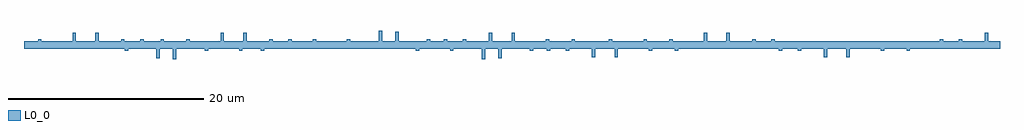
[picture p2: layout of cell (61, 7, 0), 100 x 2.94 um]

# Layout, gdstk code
import gdstk
lib = gdstk.Library(unit=1e-6, precision=1e-09)
def P(c, l, *ps):  # polygons
    for p in ps: c.add(gdstk.Polygon(p, *l))
L0_0 = (0, 0)

c__61__7__0_ = lib.new_cell('(61, 7, 0)')
P(c__61__7__0_, L0_0, [(900,941.2),(1000,941.2),(1000,940.4),(900,940.4),(900,941.2)],
  [(1000,940.4),(999.24,940.4),(999.24,941.2),(1000,941.2),(1000,940.4)],
  [(939.18,941.2),(939.18,940.4),(937.86,940.4),(937.86,941.2),(939.18,941.2)],
  [(924.28,940.4),(923.34,940.4),(923.34,941.2),(927.3,941.2),(927.3,940.4),(924.62,940.4),(924.62,940.225),(924.28,940.225),(924.28,940.4)],
  [(910.14,941.2),(910.14,940.4),(908.82,940.4),(908.82,941.2),(910.14,941.2)],
  [(958.32,941.2),(958.98,941.2),(958.98,940.4),(958.32,940.4),(958.32,941.2)],
  [(936.7,941.2),(938.05,941.2),(938.05,942.18),(938.39,942.18),(938.39,941.2),(941.28,941.2),(941.28,941.375),(941.62,941.375),(941.62,941.2),(941.82,941.2),(941.82,940.4),(928.62,940.4),(928.62,941.2),(929.59,941.2),(929.59,941.375),(929.93,941.375),(929.93,941.2),(933.09,941.2),(933.09,941.375),(933.43,941.375),(933.43,941.2),(936.36,941.2),(936.36,942.27),(936.7,942.27),(936.7,941.2)],
  [(996.6,941.2),(996.6,940.4),(991.32,940.4),(991.32,941.2),(996.6,941.2)],
  [(972.84,941.2),(972.84,940.4),(967.56,940.4),(967.56,941.2),(972.84,941.2)],
  [(950.29,941.2),(953.47,941.2),(953.47,941.375),(953.81,941.375),(953.81,941.2),(956.11,941.2),(956.11,941.375),(956.45,941.375),(956.45,941.2),(957,941.2),(957,940.4),(941.82,940.4),(941.82,941.2),(943.015,941.2),(943.015,941.375),(943.355,941.375),(943.355,941.2),(944.97,941.2),(944.97,941.375),(945.31,941.375),(945.31,941.2),(947.625,941.2),(947.625,942.035),(947.965,942.035),(947.965,941.2),(949.95,941.2),(949.95,942.04),(950.29,942.04),(950.29,941.2)],
  [(906.18,941.2),(906.18,940.4),(900.9,940.4),(900.9,941.2),(906.18,941.2)],
  [(969.99,942.04),(969.99,941.2),(971.975,941.2),(971.975,942.035),(972.315,942.035),(972.315,941.2),(974.63,941.2),(974.63,941.375),(974.97,941.375),(974.97,941.2),(976.585,941.2),(976.585,941.375),(976.925,941.375),(976.925,941.2),(978.12,941.2),(978.12,940.4),(962.94,940.4),(962.94,941.2),(963.49,941.2),(963.49,941.375),(963.83,941.375),(963.83,941.2),(966.13,941.2),(966.13,941.375),(966.47,941.375),(966.47,941.2),(969.65,941.2),(969.65,942.04),(969.99,942.04)],
  [(900,941.2),(901.45,941.2),(901.45,941.375),(901.79,941.375),(901.79,941.2),(904.97,941.2),(904.97,942.04),(905.31,942.04),(905.31,941.2),(907.295,941.2),(907.295,942.035),(907.635,942.035),(907.635,941.2),(909.95,941.2),(909.95,941.375),(910.29,941.375),(910.29,941.2),(911.905,941.2),(911.905,941.375),(912.245,941.375),(912.245,941.2),(913.44,941.2),(913.44,940.4),(900,940.4),(900,941.2)],
  [(991.32,941.2),(992.64,941.2),(992.64,940.4),(991.32,940.4),(991.32,941.2)],
  [(957,941.2),(958.32,941.2),(958.32,940.4),(957,940.4),(957,941.2)],
  [(960.26,941.375),(960.26,941.2),(962.94,941.2),(962.94,940.4),(958.98,940.4),(958.98,941.2),(959.92,941.2),(959.92,941.375),(960.26,941.375)],
  [(984.27,939.56),(984.27,940.4),(982.285,940.4),(982.285,939.565),(981.945,939.565),(981.945,940.4),(979.63,940.4),(979.63,940.225),(979.29,940.225),(979.29,940.4),(977.675,940.4),(977.675,940.225),(977.335,940.225),(977.335,940.4),(976.14,940.4),(976.14,941.2),(991.32,941.2),(991.32,940.4),(990.77,940.4),(990.77,940.225),(990.43,940.225),(990.43,940.4),(988.13,940.4),(988.13,940.225),(987.79,940.225),(987.79,940.4),(984.61,940.4),(984.61,939.56),(984.27,939.56)],
  [(920.49,942.04),(920.49,941.2),(922.475,941.2),(922.475,942.035),(922.815,942.035),(922.815,941.2),(925.13,941.2),(925.13,941.375),(925.47,941.375),(925.47,941.2),(927.085,941.2),(927.085,941.375),(927.425,941.375),(927.425,941.2),(928.62,941.2),(928.62,940.4),(913.44,940.4),(913.44,941.2),(913.99,941.2),(913.99,941.375),(914.33,941.375),(914.33,941.2),(916.63,941.2),(916.63,941.375),(916.97,941.375),(916.97,941.2),(920.15,941.2),(920.15,942.04),(920.49,942.04)],
  [(937.86,941.2),(937.86,940.4),(927.3,940.4),(927.3,941.2),(937.86,941.2)],
  [(999.24,941.2),(999.24,940.4),(996.6,940.4),(996.6,941.2),(999.24,941.2)],
  [(975.48,941.2),(975.48,940.4),(972.84,940.4),(972.84,941.2),(975.48,941.2)],
  [(900,941.2),(900.9,941.2),(900.9,940.4),(900,940.4),(900,941.2)],
  [(908.82,941.2),(908.82,940.4),(906.18,940.4),(906.18,941.2),(908.82,941.2)],
  [(978.12,941.2),(988.68,941.2),(988.68,940.4),(978.12,940.4),(978.12,941.2)],
  [(946.92,939.33),(946.92,940.4),(943.99,940.4),(943.99,940.225),(943.65,940.225),(943.65,940.4),(940.49,940.4),(940.49,940.225),(940.15,940.225),(940.15,940.4),(939.18,940.4),(939.18,941.2),(952.38,941.2),(952.38,940.4),(952.18,940.4),(952.18,940.225),(951.84,940.225),(951.84,940.4),(948.95,940.4),(948.95,939.42),(948.61,939.42),(948.61,940.4),(947.26,940.4),(947.26,939.33),(946.92,939.33)],
  [(988.68,941.2),(991.32,941.2),(991.32,940.4),(988.68,940.4),(988.68,941.2)],
  [(1000,940.4),(992.64,940.4),(992.64,941.2),(993.835,941.2),(993.835,941.375),(994.175,941.375),(994.175,941.2),(995.79,941.2),(995.79,941.375),(996.13,941.375),(996.13,941.2),(998.445,941.2),(998.445,942.035),(998.785,942.035),(998.785,941.2),(1000,941.2),(1000,940.4)],
  [(915.26,940.4),(913.91,940.4),(913.91,939.42),(913.57,939.42),(913.57,940.4),(910.68,940.4),(910.68,940.225),(910.34,940.225),(910.34,940.4),(910.14,940.4),(910.14,941.2),(923.34,941.2),(923.34,940.4),(922.37,940.4),(922.37,940.225),(922.03,940.225),(922.03,940.4),(918.87,940.4),(918.87,940.225),(918.53,940.225),(918.53,940.4),(915.6,940.4),(915.6,939.33),(915.26,939.33),(915.26,940.4)],
  [(976.14,941.2),(976.14,940.4),(975.48,940.4),(975.48,941.2),(976.14,941.2)],
  [(960.51,939.56),(960.51,940.4),(958.525,940.4),(958.525,939.565),(958.185,939.565),(958.185,940.4),(955.87,940.4),(955.87,940.225),(955.53,940.225),(955.53,940.4),(953.915,940.4),(953.915,940.225),(953.575,940.225),(953.575,940.4),(952.38,940.4),(952.38,941.2),(967.56,941.2),(967.56,940.4),(967.01,940.4),(967.01,940.225),(966.67,940.225),(966.67,940.4),(964.37,940.4),(964.37,940.225),(964.03,940.225),(964.03,940.4),(960.85,940.4),(960.85,939.56),(960.51,939.56)],
  [(936.7,941.2),(938.05,941.2),(938.05,942.18),(938.39,942.18),(938.39,941.2),(941.28,941.2),(941.28,941.375),(941.62,941.375),(941.62,941.2),(941.82,941.2),(941.82,940.4),(928.62,940.4),(928.62,941.2),(929.59,941.2),(929.59,941.375),(929.93,941.375),(929.93,941.2),(933.09,941.2),(933.09,941.375),(933.43,941.375),(933.43,941.2),(936.36,941.2),(936.36,942.27),(936.7,942.27),(936.7,941.2)],
  [(946.92,939.33),(946.92,940.4),(943.99,940.4),(943.99,940.225),(943.65,940.225),(943.65,940.4),(940.49,940.4),(940.49,940.225),(940.15,940.225),(940.15,940.4),(939.18,940.4),(939.18,941.2),(952.38,941.2),(952.38,940.4),(952.18,940.4),(952.18,940.225),(951.84,940.225),(951.84,940.4),(948.95,940.4),(948.95,939.42),(948.61,939.42),(948.61,940.4),(947.26,940.4),(947.26,939.33),(946.92,939.33)],
  [(915.26,940.4),(913.91,940.4),(913.91,939.42),(913.57,939.42),(913.57,940.4),(910.68,940.4),(910.68,940.225),(910.34,940.225),(910.34,940.4),(910.14,940.4),(910.14,941.2),(923.34,941.2),(923.34,940.4),(922.37,940.4),(922.37,940.225),(922.03,940.225),(922.03,940.4),(918.87,940.4),(918.87,940.225),(918.53,940.225),(918.53,940.4),(915.6,940.4),(915.6,939.33),(915.26,939.33),(915.26,940.4)],
  [(950.29,941.2),(953.47,941.2),(953.47,941.375),(953.81,941.375),(953.81,941.2),(956.11,941.2),(956.11,941.375),(956.45,941.375),(956.45,941.2),(957,941.2),(957,940.4),(941.82,940.4),(941.82,941.2),(943.015,941.2),(943.015,941.375),(943.355,941.375),(943.355,941.2),(944.97,941.2),(944.97,941.375),(945.31,941.375),(945.31,941.2),(947.625,941.2),(947.625,942.035),(947.965,942.035),(947.965,941.2),(949.95,941.2),(949.95,942.04),(950.29,942.04),(950.29,941.2)],
  [(906.18,941.2),(906.18,940.4),(900.9,940.4),(900.9,941.2),(906.18,941.2)],
  [(920.49,942.04),(920.49,941.2),(922.475,941.2),(922.475,942.035),(922.815,942.035),(922.815,941.2),(925.13,941.2),(925.13,941.375),(925.47,941.375),(925.47,941.2),(927.085,941.2),(927.085,941.375),(927.425,941.375),(927.425,941.2),(928.62,941.2),(928.62,940.4),(913.44,940.4),(913.44,941.2),(913.99,941.2),(913.99,941.375),(914.33,941.375),(914.33,941.2),(916.63,941.2),(916.63,941.375),(916.97,941.375),(916.97,941.2),(920.15,941.2),(920.15,942.04),(920.49,942.04)],
  [(900,941.2),(901.45,941.2),(901.45,941.375),(901.79,941.375),(901.79,941.2),(904.97,941.2),(904.97,942.04),(905.31,942.04),(905.31,941.2),(907.295,941.2),(907.295,942.035),(907.635,942.035),(907.635,941.2),(909.95,941.2),(909.95,941.375),(910.29,941.375),(910.29,941.2),(911.905,941.2),(911.905,941.375),(912.245,941.375),(912.245,941.2),(913.44,941.2),(913.44,940.4),(900,940.4),(900,941.2)],
  [(937.86,941.2),(937.86,940.4),(927.3,940.4),(927.3,941.2),(937.86,941.2)],
  [(900,941.2),(900.9,941.2),(900.9,940.4),(900,940.4),(900,941.2)],
  [(939.18,941.2),(939.18,940.4),(937.86,940.4),(937.86,941.2),(939.18,941.2)],
  [(908.82,941.2),(908.82,940.4),(906.18,940.4),(906.18,941.2),(908.82,941.2)],
  [(924.28,940.4),(923.34,940.4),(923.34,941.2),(927.3,941.2),(927.3,940.4),(924.62,940.4),(924.62,940.225),(924.28,940.225),(924.28,940.4)],
  [(910.14,941.2),(910.14,940.4),(908.82,940.4),(908.82,941.2),(910.14,941.2)],
  [(957,941.2),(958.32,941.2),(958.32,940.4),(957,940.4),(957,941.2)],
  [(936.7,941.2),(938.05,941.2),(938.05,942.18),(938.39,942.18),(938.39,941.2),(941.28,941.2),(941.28,941.375),(941.62,941.375),(941.62,941.2),(941.82,941.2),(941.82,940.4),(928.62,940.4),(928.62,941.2),(929.59,941.2),(929.59,941.375),(929.93,941.375),(929.93,941.2),(933.09,941.2),(933.09,941.375),(933.43,941.375),(933.43,941.2),(936.36,941.2),(936.36,942.27),(936.7,942.27),(936.7,941.2)],
  [(946.92,939.33),(946.92,940.4),(943.99,940.4),(943.99,940.225),(943.65,940.225),(943.65,940.4),(940.49,940.4),(940.49,940.225),(940.15,940.225),(940.15,940.4),(939.18,940.4),(939.18,941.2),(952.38,941.2),(952.38,940.4),(952.18,940.4),(952.18,940.225),(951.84,940.225),(951.84,940.4),(948.95,940.4),(948.95,939.42),(948.61,939.42),(948.61,940.4),(947.26,940.4),(947.26,939.33),(946.92,939.33)],
  [(960.26,941.375),(960.26,941.2),(962.94,941.2),(962.94,940.4),(958.98,940.4),(958.98,941.2),(959.92,941.2),(959.92,941.375),(960.26,941.375)],
  [(950.29,941.2),(953.47,941.2),(953.47,941.375),(953.81,941.375),(953.81,941.2),(956.11,941.2),(956.11,941.375),(956.45,941.375),(956.45,941.2),(957,941.2),(957,940.4),(941.82,940.4),(941.82,941.2),(943.015,941.2),(943.015,941.375),(943.355,941.375),(943.355,941.2),(944.97,941.2),(944.97,941.375),(945.31,941.375),(945.31,941.2),(947.625,941.2),(947.625,942.035),(947.965,942.035),(947.965,941.2),(949.95,941.2),(949.95,942.04),(950.29,942.04),(950.29,941.2)],
  [(972.84,941.2),(972.84,940.4),(967.56,940.4),(967.56,941.2),(972.84,941.2)],
  [(976.14,941.2),(976.14,940.4),(975.48,940.4),(975.48,941.2),(976.14,941.2)],
  [(984.27,939.56),(984.27,940.4),(982.285,940.4),(982.285,939.565),(981.945,939.565),(981.945,940.4),(979.63,940.4),(979.63,940.225),(979.29,940.225),(979.29,940.4),(977.675,940.4),(977.675,940.225),(977.335,940.225),(977.335,940.4),(976.14,940.4),(976.14,941.2),(991.32,941.2),(991.32,940.4),(990.77,940.4),(990.77,940.225),(990.43,940.225),(990.43,940.4),(988.13,940.4),(988.13,940.225),(987.79,940.225),(987.79,940.4),(984.61,940.4),(984.61,939.56),(984.27,939.56)],
  [(969.99,942.04),(969.99,941.2),(971.975,941.2),(971.975,942.035),(972.315,942.035),(972.315,941.2),(974.63,941.2),(974.63,941.375),(974.97,941.375),(974.97,941.2),(976.585,941.2),(976.585,941.375),(976.925,941.375),(976.925,941.2),(978.12,941.2),(978.12,940.4),(962.94,940.4),(962.94,941.2),(963.49,941.2),(963.49,941.375),(963.83,941.375),(963.83,941.2),(966.13,941.2),(966.13,941.375),(966.47,941.375),(966.47,941.2),(969.65,941.2),(969.65,942.04),(969.99,942.04)],
  [(996.6,941.2),(996.6,940.4),(991.32,940.4),(991.32,941.2),(996.6,941.2)],
  [(988.68,941.2),(991.32,941.2),(991.32,940.4),(988.68,940.4),(988.68,941.2)],
  [(975.48,941.2),(975.48,940.4),(972.84,940.4),(972.84,941.2),(975.48,941.2)],
  [(991.32,941.2),(992.64,941.2),(992.64,940.4),(991.32,940.4),(991.32,941.2)],
  [(958.32,941.2),(958.98,941.2),(958.98,940.4),(958.32,940.4),(958.32,941.2)],
  [(960.51,939.56),(960.51,940.4),(958.525,940.4),(958.525,939.565),(958.185,939.565),(958.185,940.4),(955.87,940.4),(955.87,940.225),(955.53,940.225),(955.53,940.4),(953.915,940.4),(953.915,940.225),(953.575,940.225),(953.575,940.4),(952.38,940.4),(952.38,941.2),(967.56,941.2),(967.56,940.4),(967.01,940.4),(967.01,940.225),(966.67,940.225),(966.67,940.4),(964.37,940.4),(964.37,940.225),(964.03,940.225),(964.03,940.4),(960.85,940.4),(960.85,939.56),(960.51,939.56)],
  [(978.12,941.2),(988.68,941.2),(988.68,940.4),(978.12,940.4),(978.12,941.2)],
  [(936.7,941.2),(938.05,941.2),(938.05,942.18),(938.39,942.18),(938.39,941.2),(941.28,941.2),(941.28,941.375),(941.62,941.375),(941.62,941.2),(941.82,941.2),(941.82,940.4),(928.62,940.4),(928.62,941.2),(929.59,941.2),(929.59,941.375),(929.93,941.375),(929.93,941.2),(933.09,941.2),(933.09,941.375),(933.43,941.375),(933.43,941.2),(936.36,941.2),(936.36,942.27),(936.7,942.27),(936.7,941.2)],
  [(946.92,939.33),(946.92,940.4),(943.99,940.4),(943.99,940.225),(943.65,940.225),(943.65,940.4),(940.49,940.4),(940.49,940.225),(940.15,940.225),(940.15,940.4),(939.18,940.4),(939.18,941.2),(952.38,941.2),(952.38,940.4),(952.18,940.4),(952.18,940.225),(951.84,940.225),(951.84,940.4),(948.95,940.4),(948.95,939.42),(948.61,939.42),(948.61,940.4),(947.26,940.4),(947.26,939.33),(946.92,939.33)],
  [(915.26,940.4),(913.91,940.4),(913.91,939.42),(913.57,939.42),(913.57,940.4),(910.68,940.4),(910.68,940.225),(910.34,940.225),(910.34,940.4),(910.14,940.4),(910.14,941.2),(923.34,941.2),(923.34,940.4),(922.37,940.4),(922.37,940.225),(922.03,940.225),(922.03,940.4),(918.87,940.4),(918.87,940.225),(918.53,940.225),(918.53,940.4),(915.6,940.4),(915.6,939.33),(915.26,939.33),(915.26,940.4)],
  [(950.29,941.2),(953.47,941.2),(953.47,941.375),(953.81,941.375),(953.81,941.2),(956.11,941.2),(956.11,941.375),(956.45,941.375),(956.45,941.2),(957,941.2),(957,940.4),(941.82,940.4),(941.82,941.2),(943.015,941.2),(943.015,941.375),(943.355,941.375),(943.355,941.2),(944.97,941.2),(944.97,941.375),(945.31,941.375),(945.31,941.2),(947.625,941.2),(947.625,942.035),(947.965,942.035),(947.965,941.2),(949.95,941.2),(949.95,942.04),(950.29,942.04),(950.29,941.2)],
  [(958.32,941.2),(958.98,941.2),(958.98,940.4),(958.32,940.4),(958.32,941.2)],
  [(972.84,941.2),(972.84,940.4),(967.56,940.4),(967.56,941.2),(972.84,941.2)],
  [(969.99,942.04),(969.99,941.2),(971.975,941.2),(971.975,942.035),(972.315,942.035),(972.315,941.2),(974.63,941.2),(974.63,941.375),(974.97,941.375),(974.97,941.2),(976.585,941.2),(976.585,941.375),(976.925,941.375),(976.925,941.2),(978.12,941.2),(978.12,940.4),(962.94,940.4),(962.94,941.2),(963.49,941.2),(963.49,941.375),(963.83,941.375),(963.83,941.2),(966.13,941.2),(966.13,941.375),(966.47,941.375),(966.47,941.2),(969.65,941.2),(969.65,942.04),(969.99,942.04)],
  [(920.49,942.04),(920.49,941.2),(922.475,941.2),(922.475,942.035),(922.815,942.035),(922.815,941.2),(925.13,941.2),(925.13,941.375),(925.47,941.375),(925.47,941.2),(927.085,941.2),(927.085,941.375),(927.425,941.375),(927.425,941.2),(928.62,941.2),(928.62,940.4),(913.44,940.4),(913.44,941.2),(913.99,941.2),(913.99,941.375),(914.33,941.375),(914.33,941.2),(916.63,941.2),(916.63,941.375),(916.97,941.375),(916.97,941.2),(920.15,941.2),(920.15,942.04),(920.49,942.04)],
  [(900,941.2),(901.45,941.2),(901.45,941.375),(901.79,941.375),(901.79,941.2),(904.97,941.2),(904.97,942.04),(905.31,942.04),(905.31,941.2),(907.295,941.2),(907.295,942.035),(907.635,942.035),(907.635,941.2),(909.95,941.2),(909.95,941.375),(910.29,941.375),(910.29,941.2),(911.905,941.2),(911.905,941.375),(912.245,941.375),(912.245,941.2),(913.44,941.2),(913.44,940.4),(900,940.4),(900,941.2)],
  [(937.86,941.2),(937.86,940.4),(927.3,940.4),(927.3,941.2),(937.86,941.2)],
  [(939.18,941.2),(939.18,940.4),(937.86,940.4),(937.86,941.2),(939.18,941.2)],
  [(910.14,941.2),(910.14,940.4),(908.82,940.4),(908.82,941.2),(910.14,941.2)],
  [(957,941.2),(958.32,941.2),(958.32,940.4),(957,940.4),(957,941.2)],
  [(960.51,939.56),(960.51,940.4),(958.525,940.4),(958.525,939.565),(958.185,939.565),(958.185,940.4),(955.87,940.4),(955.87,940.225),(955.53,940.225),(955.53,940.4),(953.915,940.4),(953.915,940.225),(953.575,940.225),(953.575,940.4),(952.38,940.4),(952.38,941.2),(967.56,941.2),(967.56,940.4),(967.01,940.4),(967.01,940.225),(966.67,940.225),(966.67,940.4),(964.37,940.4),(964.37,940.225),(964.03,940.225),(964.03,940.4),(960.85,940.4),(960.85,939.56),(960.51,939.56)],
  [(957,941.2),(958.32,941.2),(958.32,940.4),(957,940.4),(957,941.2)],
  [(946.92,939.33),(946.92,940.4),(943.99,940.4),(943.99,940.225),(943.65,940.225),(943.65,940.4),(940.49,940.4),(940.49,940.225),(940.15,940.225),(940.15,940.4),(939.18,940.4),(939.18,941.2),(952.38,941.2),(952.38,940.4),(952.18,940.4),(952.18,940.225),(951.84,940.225),(951.84,940.4),(948.95,940.4),(948.95,939.42),(948.61,939.42),(948.61,940.4),(947.26,940.4),(947.26,939.33),(946.92,939.33)],
  [(950.29,941.2),(953.47,941.2),(953.47,941.375),(953.81,941.375),(953.81,941.2),(956.11,941.2),(956.11,941.375),(956.45,941.375),(956.45,941.2),(957,941.2),(957,940.4),(941.82,940.4),(941.82,941.2),(943.015,941.2),(943.015,941.375),(943.355,941.375),(943.355,941.2),(944.97,941.2),(944.97,941.375),(945.31,941.375),(945.31,941.2),(947.625,941.2),(947.625,942.035),(947.965,942.035),(947.965,941.2),(949.95,941.2),(949.95,942.04),(950.29,942.04),(950.29,941.2)],
  [(972.84,941.2),(972.84,940.4),(967.56,940.4),(967.56,941.2),(972.84,941.2)],
  [(969.99,942.04),(969.99,941.2),(971.975,941.2),(971.975,942.035),(972.315,942.035),(972.315,941.2),(974.63,941.2),(974.63,941.375),(974.97,941.375),(974.97,941.2),(976.585,941.2),(976.585,941.375),(976.925,941.375),(976.925,941.2),(978.12,941.2),(978.12,940.4),(962.94,940.4),(962.94,941.2),(963.49,941.2),(963.49,941.375),(963.83,941.375),(963.83,941.2),(966.13,941.2),(966.13,941.375),(966.47,941.375),(966.47,941.2),(969.65,941.2),(969.65,942.04),(969.99,942.04)],
  [(920.49,942.04),(920.49,941.2),(922.475,941.2),(922.475,942.035),(922.815,942.035),(922.815,941.2),(925.13,941.2),(925.13,941.375),(925.47,941.375),(925.47,941.2),(927.085,941.2),(927.085,941.375),(927.425,941.375),(927.425,941.2),(928.62,941.2),(928.62,940.4),(913.44,940.4),(913.44,941.2),(913.99,941.2),(913.99,941.375),(914.33,941.375),(914.33,941.2),(916.63,941.2),(916.63,941.375),(916.97,941.375),(916.97,941.2),(920.15,941.2),(920.15,942.04),(920.49,942.04)],
  [(939.18,941.2),(939.18,940.4),(937.86,940.4),(937.86,941.2),(939.18,941.2)],
  [(958.32,941.2),(958.98,941.2),(958.98,940.4),(958.32,940.4),(958.32,941.2)],
  [(960.51,939.56),(960.51,940.4),(958.525,940.4),(958.525,939.565),(958.185,939.565),(958.185,940.4),(955.87,940.4),(955.87,940.225),(955.53,940.225),(955.53,940.4),(953.915,940.4),(953.915,940.225),(953.575,940.225),(953.575,940.4),(952.38,940.4),(952.38,941.2),(967.56,941.2),(967.56,940.4),(967.01,940.4),(967.01,940.225),(966.67,940.225),(966.67,940.4),(964.37,940.4),(964.37,940.225),(964.03,940.225),(964.03,940.4),(960.85,940.4),(960.85,939.56),(960.51,939.56)],
  [(906.18,941.2),(906.18,940.4),(900.9,940.4),(900.9,941.2),(906.18,941.2)],
  [(920.49,942.04),(920.49,941.2),(922.475,941.2),(922.475,942.035),(922.815,942.035),(922.815,941.2),(925.13,941.2),(925.13,941.375),(925.47,941.375),(925.47,941.2),(927.085,941.2),(927.085,941.375),(927.425,941.375),(927.425,941.2),(928.62,941.2),(928.62,940.4),(913.44,940.4),(913.44,941.2),(913.99,941.2),(913.99,941.375),(914.33,941.375),(914.33,941.2),(916.63,941.2),(916.63,941.375),(916.97,941.375),(916.97,941.2),(920.15,941.2),(920.15,942.04),(920.49,942.04)],
  [(900,941.2),(901.45,941.2),(901.45,941.375),(901.79,941.375),(901.79,941.2),(904.97,941.2),(904.97,942.04),(905.31,942.04),(905.31,941.2),(907.295,941.2),(907.295,942.035),(907.635,942.035),(907.635,941.2),(909.95,941.2),(909.95,941.375),(910.29,941.375),(910.29,941.2),(911.905,941.2),(911.905,941.375),(912.245,941.375),(912.245,941.2),(913.44,941.2),(913.44,940.4),(900,940.4),(900,941.2)],
  [(900,941.2),(900.9,941.2),(900.9,940.4),(900,940.4),(900,941.2)],
  [(939.18,941.2),(939.18,940.4),(937.86,940.4),(937.86,941.2),(939.18,941.2)],
  [(908.82,941.2),(908.82,940.4),(906.18,940.4),(906.18,941.2),(908.82,941.2)],
  [(915.26,940.4),(913.91,940.4),(913.91,939.42),(913.57,939.42),(913.57,940.4),(910.68,940.4),(910.68,940.225),(910.34,940.225),(910.34,940.4),(910.14,940.4),(910.14,941.2),(923.34,941.2),(923.34,940.4),(922.37,940.4),(922.37,940.225),(922.03,940.225),(922.03,940.4),(918.87,940.4),(918.87,940.225),(918.53,940.225),(918.53,940.4),(915.6,940.4),(915.6,939.33),(915.26,939.33),(915.26,940.4)],
  [(910.14,941.2),(910.14,940.4),(908.82,940.4),(908.82,941.2),(910.14,941.2)],
  [(937.86,941.2),(937.86,940.4),(927.3,940.4),(927.3,941.2),(937.86,941.2)],
  [(920.49,942.04),(920.49,941.2),(922.475,941.2),(922.475,942.035),(922.815,942.035),(922.815,941.2),(925.13,941.2),(925.13,941.375),(925.47,941.375),(925.47,941.2),(927.085,941.2),(927.085,941.375),(927.425,941.375),(927.425,941.2),(928.62,941.2),(928.62,940.4),(913.44,940.4),(913.44,941.2),(913.99,941.2),(913.99,941.375),(914.33,941.375),(914.33,941.2),(916.63,941.2),(916.63,941.375),(916.97,941.375),(916.97,941.2),(920.15,941.2),(920.15,942.04),(920.49,942.04)])

lib.write_gds('_61__7__0_.gds')
